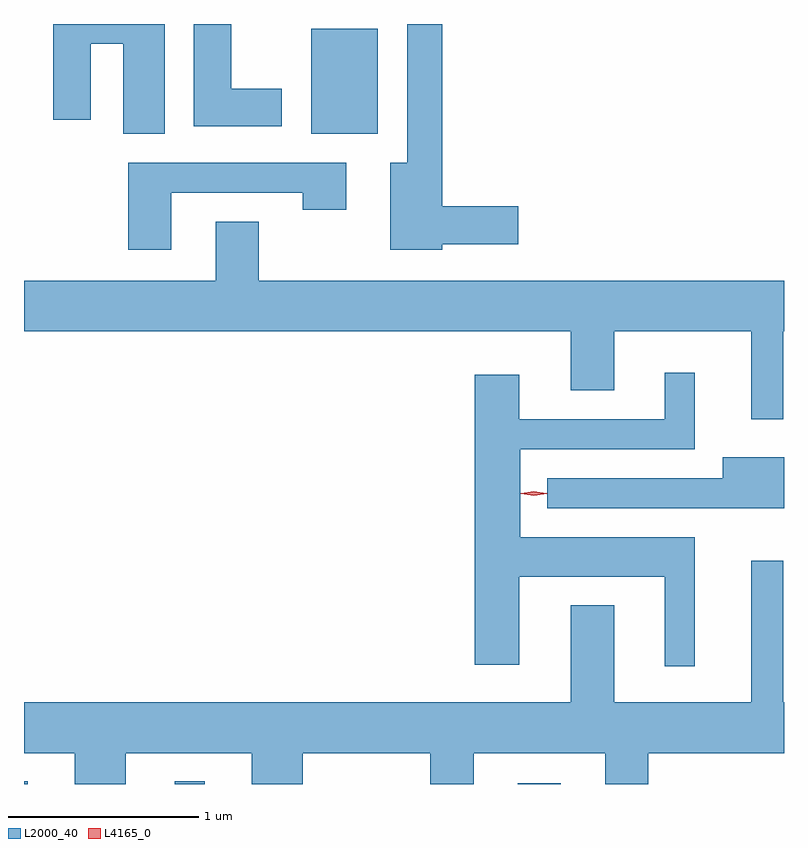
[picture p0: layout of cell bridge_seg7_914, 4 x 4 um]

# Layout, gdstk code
import gdstk
lib = gdstk.Library(unit=1e-6, precision=1e-09)
def R(c, l, rs):  # rectangles x0, y0, x1, y1
    for r in rs: c.add(gdstk.rectangle(r[:2], r[2:], *l))
def P(c, l, *ps):  # polygons
    for p in ps: c.add(gdstk.Polygon(p, *l))
L2000_40 = (2000, 40)
L4165_0 = (4165, 0)

bridge_seg7_914 = lib.new_cell('bridge_seg7_914')
R(bridge_seg7_914, L2000_40, [(559.983,1700.834,560.004,1700.848), (560.776,1700.834,560.934,1700.848), (562.581,1700.834,562.809,1700.839), (561.496,1704.256,561.844,1704.809)])
P(bridge_seg7_914, L2000_40, [(561.339,1704.494),(561.074,1704.494),(561.074,1704.834),(560.876,1704.834),(560.876,1704.296),(561.339,1704.296)],
  [(560.724,1704.834),(560.136,1704.834),(560.136,1704.331),(560.334,1704.331),(560.334,1704.731),(560.506,1704.731),(560.506,1704.256),(560.724,1704.256)],
  [(562.184,1703.676),(562.584,1703.676),(562.584,1703.874),(562.184,1703.874),(562.184,1704.834),(562.001,1704.834),(562.001,1704.104),(561.911,1704.104),(561.911,1703.646),(562.184,1703.646)],
  [(560.759,1703.946),(561.451,1703.946),(561.451,1703.856),(561.679,1703.856),(561.679,1704.104),(560.531,1704.104),(560.531,1703.646),(560.759,1703.646)],
  [(563.979,1703.216),(563.983,1703.216),(563.983,1703.484),(561.219,1703.484),(561.219,1703.794),(560.991,1703.794),(560.991,1703.484),(559.983,1703.484),(559.983,1703.216),(562.861,1703.216),(562.861,1702.906),(563.089,1702.906),(563.089,1703.216),(563.811,1703.216),(563.811,1702.753),(563.979,1702.753)],
  [(563.514,1702.134),(562.594,1702.134),(562.594,1702.596),(563.514,1702.596),(563.514,1702.998),(563.356,1702.998),(563.356,1702.754),(562.589,1702.754),(562.589,1702.989),(562.356,1702.989),(562.356,1701.461),(562.589,1701.461),(562.589,1701.926),(563.356,1701.926),(563.356,1701.453),(563.514,1701.453)],
  [(563.983,1702.554),(563.661,1702.554),(563.661,1702.444),(562.738,1702.444),(562.738,1702.286),(563.983,1702.286)],
  [(560.519,1700.996),(561.181,1700.996),(561.181,1700.834),(561.449,1700.834),(561.449,1700.996),(562.121,1700.996),(562.121,1700.834),(562.349,1700.834),(562.349,1700.996),(563.041,1700.996),(563.041,1700.834),(563.269,1700.834),(563.269,1700.996),(563.983,1700.996),(563.983,1701.264),(563.979,1701.264),(563.979,1702.008),(563.811,1702.008),(563.811,1701.264),(563.089,1701.264),(563.089,1701.774),(562.861,1701.774),(562.861,1701.264),(559.983,1701.264),(559.983,1700.996),(560.251,1700.996),(560.251,1700.834),(560.519,1700.834)])
P(bridge_seg7_914, L4165_0, [(562.667,1702.352),(562.598,1702.362),(562.597,1702.362),(562.598,1702.363),(562.667,1702.372),(562.736,1702.363),(562.736,1702.362),(562.736,1702.362)],
  [(562.667,1702.354),(562.601,1702.363),(562.6,1702.364),(562.601,1702.364),(562.667,1702.374),(562.732,1702.364),(562.733,1702.364),(562.732,1702.363)])

lib.write_gds('bridge_seg7_914.gds')
